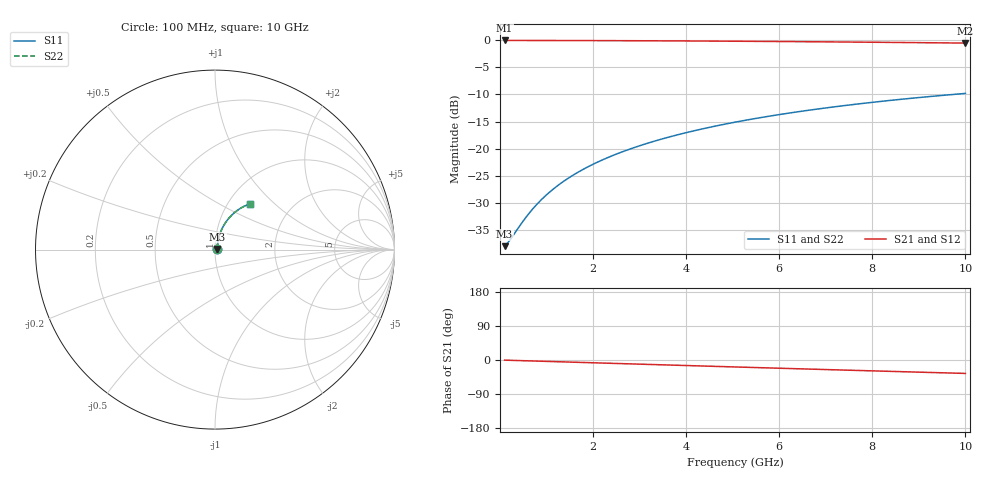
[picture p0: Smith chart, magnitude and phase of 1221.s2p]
# Hz S RI R 50.00
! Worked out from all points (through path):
!   100 points, 100 MHz to 10 GHz, reference 50 ohm
!   highest |S21| = -0.11 dB at 100 MHz (marker M1); lowest = -0.6 dB at 10 GHz (marker M2)
!   group delay of S21, straight-line fit = 9.86 ps
!   lowest |S11| = -37.9 dB at 100 MHz (marker M3), VSWR 1.03, Z = 51.2 + j0.357 ohm
!   |S11| at or under -10 dB: start of sweep to 9.779 GHz
!   |S22| runs from -37.9 to -9.8 dB; largest |S21 - S12| = 0
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1e8  0.0122 0.00348  0.9878 -0.00632  0.9878 -0.00632  0.0122 0.00348
2e8  0.0124 0.00696  0.9876 -0.0126  0.9876 -0.0126  0.0124 0.00696
5e8  0.013 0.0174  0.9869 -0.0316  0.9869 -0.0316  0.013 0.0174
6e8  0.0133 0.0208  0.9866 -0.0379  0.9866 -0.0379  0.0133 0.0208
7e8  0.0136 0.0243  0.9862 -0.0442  0.9862 -0.0442  0.0136 0.0243
9e8  0.0144 0.0312  0.9853 -0.0568  0.9853 -0.0568  0.0144 0.0312
1.1e9  0.0153 0.0381  0.9842 -0.0693  0.9842 -0.0693  0.0153 0.0381
1.3e9  0.0164 0.0449  0.9829 -0.0819  0.9829 -0.0819  0.0164 0.0449
1.5e9  0.0177 0.0518  0.9814 -0.0944  0.9814 -0.0944  0.0177 0.0518
1.8e9  0.0199 0.0619  0.9787 -0.1131  0.9787 -0.1131  0.0199 0.0619
2.1e9  0.0225 0.072  0.9756 -0.1316  0.9756 -0.1316  0.0225 0.072
2.5e9  0.0266 0.0852  0.9708 -0.1562  0.9708 -0.1562  0.0266 0.0852
2.9e9  0.0313 0.0981  0.9652 -0.1806  0.9652 -0.1806  0.0313 0.0981
3.4e9  0.0381 0.1139  0.9571 -0.2106  0.9571 -0.2106  0.0381 0.1139
3.8e9  0.0442 0.1261  0.9498 -0.2342  0.9498 -0.2342  0.0442 0.1261
4.2e9  0.0509 0.138  0.9418 -0.2575  0.9418 -0.2575  0.0509 0.138
5.1e9  0.068 0.1633  0.9212 -0.3085  0.9212 -0.3085  0.068 0.1633
5.9e9  0.0854 0.1838  0.9002 -0.3519  0.9002 -0.3519  0.0854 0.1838
6.7e9  0.1044 0.2023  0.8769 -0.3934  0.8769 -0.3934  0.1044 0.2023
7.5e9  0.125 0.2187  0.8515 -0.4328  0.8515 -0.4328  0.125 0.2187
8.4e9  0.1497 0.2345  0.8207 -0.4745  0.8207 -0.4745  0.1497 0.2345
1e10  0.1962 0.2554  0.7615 -0.5415  0.7615 -0.5415  0.1962 0.2554
